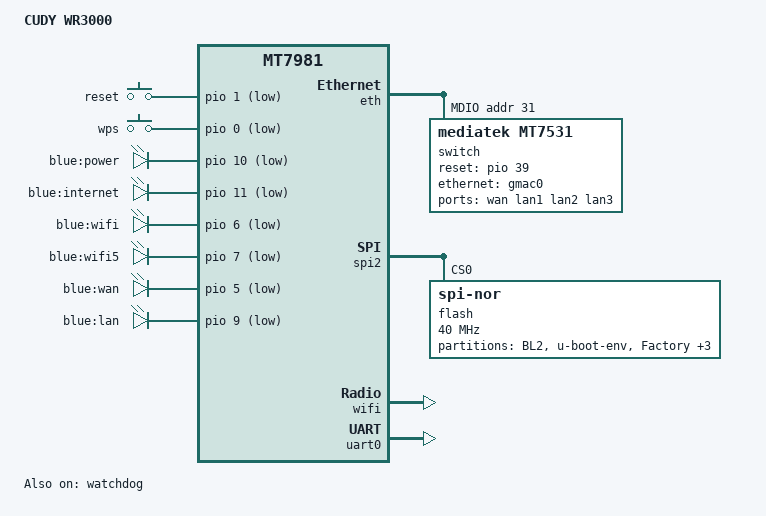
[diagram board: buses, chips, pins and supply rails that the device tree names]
/dts-v1/;

#include "mt7981.dtsi"

/ {
	model = "CUDY WR3000";
	compatible = "cudy,wr3000", "mediatek,mt7981";

	aliases {
		ethernet0 = &gmac0;
		led-boot = &led_power;
		led-failsafe = &led_power;
		led-running = &led_power;
		led-upgrade = &led_power;
		serial0 = &uart0;
	};

	chosen {
		stdout-path = "serial0:115200n8";
	};

	gpio-keys {
		compatible = "gpio-keys";

		reset {
			label = "reset";
			linux,code = <KEY_RESTART>;
			gpios = <&pio 1 GPIO_ACTIVE_LOW>;
		};
		wps {
			label = "wps";
			linux,code = <KEY_WPS_BUTTON>;
			gpios = <&pio 0 GPIO_ACTIVE_LOW>;
		};
	};

	leds {
		compatible = "gpio-leds";

		led_power: led@0 {
			label = "blue:power";
			gpios = <&pio 10 GPIO_ACTIVE_LOW>;
		};

		led@1 {
			label = "blue:internet";
			gpios = <&pio 11 GPIO_ACTIVE_LOW>;
		};
		
		led@2 {
			label = "blue:wifi";
			gpios = <&pio 6 GPIO_ACTIVE_LOW>;
			linux,default-trigger = "phy0tpt";
		};

		led@3 {
			label = "blue:wifi5";
			gpios = <&pio 7 GPIO_ACTIVE_LOW>;
			linux,default-trigger = "phy1tpt";
		};
		
		led@4 {
			label = "blue:wan";
			gpios = <&pio 5 GPIO_ACTIVE_LOW>;
		};
		
		led@5 {
			label = "blue:lan";
			gpios = <&pio 9 GPIO_ACTIVE_LOW>;
		};
	};
};

&eth {
	status = "okay";

	gmac0: mac@0 {
		compatible = "mediatek,eth-mac";
		reg = <0>;
		phy-mode = "2500base-x";

		nvmem-cells = <&macaddr_de00>;
		nvmem-cell-names = "mac-address";

		fixed-link {
			speed = <2500>;
			full-duplex;
			pause;
		};
	};

	mdio: mdio-bus {
		#address-cells = <1>;
		#size-cells = <0>;
	};
};

&mdio {
	switch: switch@0 {
		compatible = "mediatek,mt7531";
		reg = <31>;
		reset-gpios = <&pio 39 GPIO_ACTIVE_HIGH>;
	};
};

&spi2 {
	status = "okay";

	flash@0 {
		#address-cells = <1>;
		#size-cells = <1>;
		compatible = "jedec,spi-nor";
		reg = <0>;
		spi-max-frequency = <40000000>;
		spi-tx-buswidth = <4>;
		spi-rx-buswidth = <4>;
		partitions {
			compatible = "fixed-partitions";
			#address-cells = <1>;
			#size-cells = <1>;

		partition@00000 {
			label = "BL2";
			reg = <0x000000 0x040000>;
			read-only;
		};
		partition@40000 {
			label = "u-boot-env";
			reg = <0x040000 0x010000>;
		};
		factory: partition@50000 {
			label = "Factory";
			reg = <0x050000 0x010000>;
			read-only;

		};
		partition@60000 {
			label = "bdinfo";
			reg = <0x060000 0x010000>;
			read-only;
			
			compatible = "nvmem-cells";
			#address-cells = <1>;
			#size-cells = <1>;

			macaddr_de00: macaddr@de00 {
				reg = <0xDE00 0x6>;
			};
		};
		partition@70000 {
			label = "FIP";
			reg = <0x070000 0x080000>;
			read-only;
		};
		partition@f0000 {
			compatible = "denx,fit";
			label = "firmware";
			reg = <0x0f0000 0xF10000>;
			};
		};
	};
};

&switch {
	ports {
		#address-cells = <1>;
		#size-cells = <0>;

		port@1 {
			reg = <0>;
			label = "wan";
			nvmem-cells = <&macaddr_de00>;
			nvmem-cell-names = "mac-address";
			mac-address-increment = <(1)>;
		};

		port@2 {
			reg = <1>;
			label = "lan1";
		};

		port@3 {
			reg = <2>;
			label = "lan2";
		};

		port@4 {
			reg = <3>;
			label = "lan3";
		};

		port@6 {
			reg = <6>;
			ethernet = <&gmac0>;
			phy-mode = "2500base-x";

			fixed-link {
				speed = <2500>;
				full-duplex;
				pause;
			};
		};
	};
};

&wifi {
	status = "okay";
	mediatek,mtd-eeprom = <&factory 0x0>;
};

&uart0 {
	status = "okay";
};

&watchdog {
	status = "okay";
};
